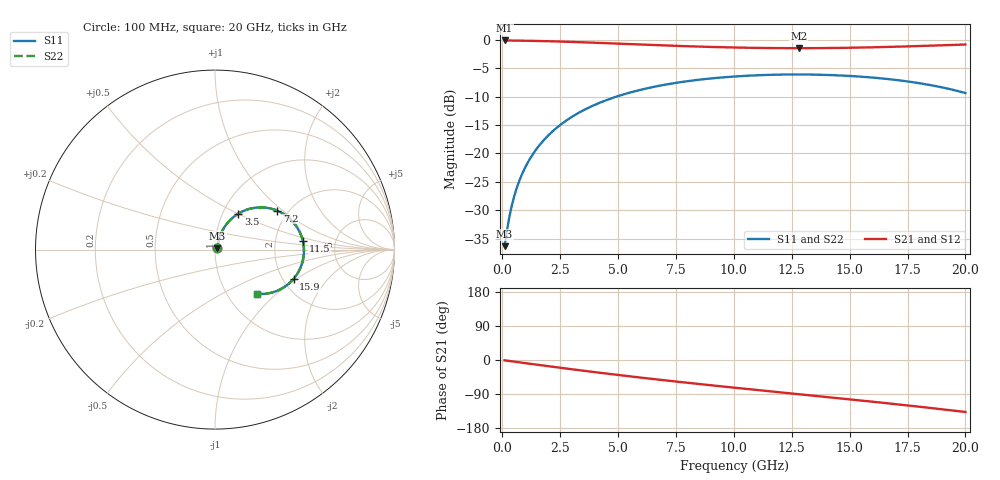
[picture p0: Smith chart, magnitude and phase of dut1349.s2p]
! Touchstone file exported from HFSS 2026.1.0
!  File:  C:/ffzhzh/LocalFiles/Ansys_Project_Files/temp_train_TSV_RDL_1349_1783340460_38820.aedt
!  Generated:  08:31:53 PM Jul  6, 2026
!  Design:  TSV_RDL
!  Project:  temp_train_TSV_RDL_1349_1783340460_38820
! Variables:
!  h_bsmrdl = 5.7um
!  h_ox = 20um
!  h_rdl = 5um
!  h_sub = 56.82um
!  h_tmrdl = 2.73um
!  h_tsv = 56.82um
!  h_via = 3um
!  l_bsmrdl = 275.58um
!  l_sub = 2483.06um
!  l_tmrdl = 287.8um
!  m_sub = 200um
!  pitch = 39.36um
!  r_tsv = 6.12um
!  s_tmrdl = 10um
!  w_bsmrdl = 11.67um
!  w_sub = 500um
!  w_tmrdl = 23.37um
!  x_tsv_center1 = 299.485um
!  x_tsv_center2 = 586.735um
!  x_tsv_center3 = 897.905um
!  x_tsv_center4 = 1185.155um
!  x_tsv_center5 = 1496.325um
!  x_tsv_center6 = 1783.575um
# GHz S MA R 50.000000
! Terminal data exported
! Port[1] = TM_RDL1_1_T1
! Port[2] = TM_RDL5_1_T1
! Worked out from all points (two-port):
!   200 points, 100 MHz to 20 GHz, reference 50 ohm
!   highest |S21| = -0.11 dB at 100 MHz (marker M1); lowest = -1.5 dB at 12.8 GHz (marker M2)
!   |S21| within 3 dB of the highest: start of sweep to end of sweep
!   lowest |S11| = -36.3 dB at 100 MHz (marker M3), VSWR 1.03, Z = 51.3 + j0.809 ohm
!   |S11| at or under -10 dB: start of sweep to 4.927 GHz
!   |S22| runs from -36.3 to -6.1 dB; largest |S21 - S12| = 1.6e-14
!   S11 on the Smith chart (normalised r, x): 100 MHz: 1.03, +0.02; 3.5 GHz: 1.18, +0.50; 7.2 GHz: 1.76, +0.91; 11.5 GHz: 2.88, +0.37; 15.9 GHz: 2.28, -0.95; 20 GHz: 1.37, -0.76
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0.1  0.01531 31.0  0.987 -0.9  0.987 -0.9  0.01531 31.0
! Gamma 0 0 0 0
! Port Impedance 50 0 50 0
0.3  0.02736 56.9  0.9858 -2.6  0.9858 -2.6  0.02736 56.9
0.5  0.04107 64.8  0.9846 -4.2  0.9846 -4.2  0.04107 64.8
0.6  0.04804 66.8  0.984 -5.1  0.984 -5.1  0.04804 66.8
0.8  0.06207 68.9  0.9828 -6.7  0.9828 -6.7  0.06207 68.9
1.2  0.0902 69.6  0.9798 -10.0  0.9798 -10.0  0.0902 69.6
1.7  0.1249 68.0  0.9751 -14.1  0.9751 -14.1  0.1249 68.0
2.2  0.1585 65.4  0.9694 -18.1  0.9694 -18.1  0.1585 65.4
2.8  0.1973 61.7  0.9614 -22.8  0.9614 -22.8  0.1973 61.7
3.5  0.2398 57.0  0.9508 -28.3  0.9508 -28.3  0.2398 57.0
5  0.3198 46.7  0.9256 -39.5  0.9256 -39.5  0.3198 46.7
6.8  0.395 34.7  0.8954 -52.1  0.8954 -52.1  0.395 34.7
7.2  0.4086 32.1  0.8893 -54.8  0.8893 -54.8  0.4086 32.1
8.6  0.4481 23.2  0.8701 -64.0  0.8701 -64.0  0.4481 23.2
10.1  0.4767 14.0  0.855 -73.6  0.855 -73.6  0.4767 14.0
11.5  0.4916 5.7  0.8466 -82.2  0.8466 -82.2  0.4916 5.7
12.8  0.4956 -2.0  0.8441 -90.2  0.8441 -90.2  0.4956 -2.0
13.4  0.4943 -5.5  0.8447 -93.9  0.8447 -93.9  0.4943 -5.5
15.9  0.4671 -20.5  0.8582 -109.5  0.8582 -109.5  0.4671 -20.5
16.7  0.4508 -25.4  0.866 -114.6  0.866 -114.6  0.4508 -25.4
18.4  0.4027 -36.0  0.8866 -125.9  0.8866 -125.9  0.4027 -36.0
20  0.3404 -46.4  0.9091 -137.1  0.9091 -137.1  0.3403 -46.4
